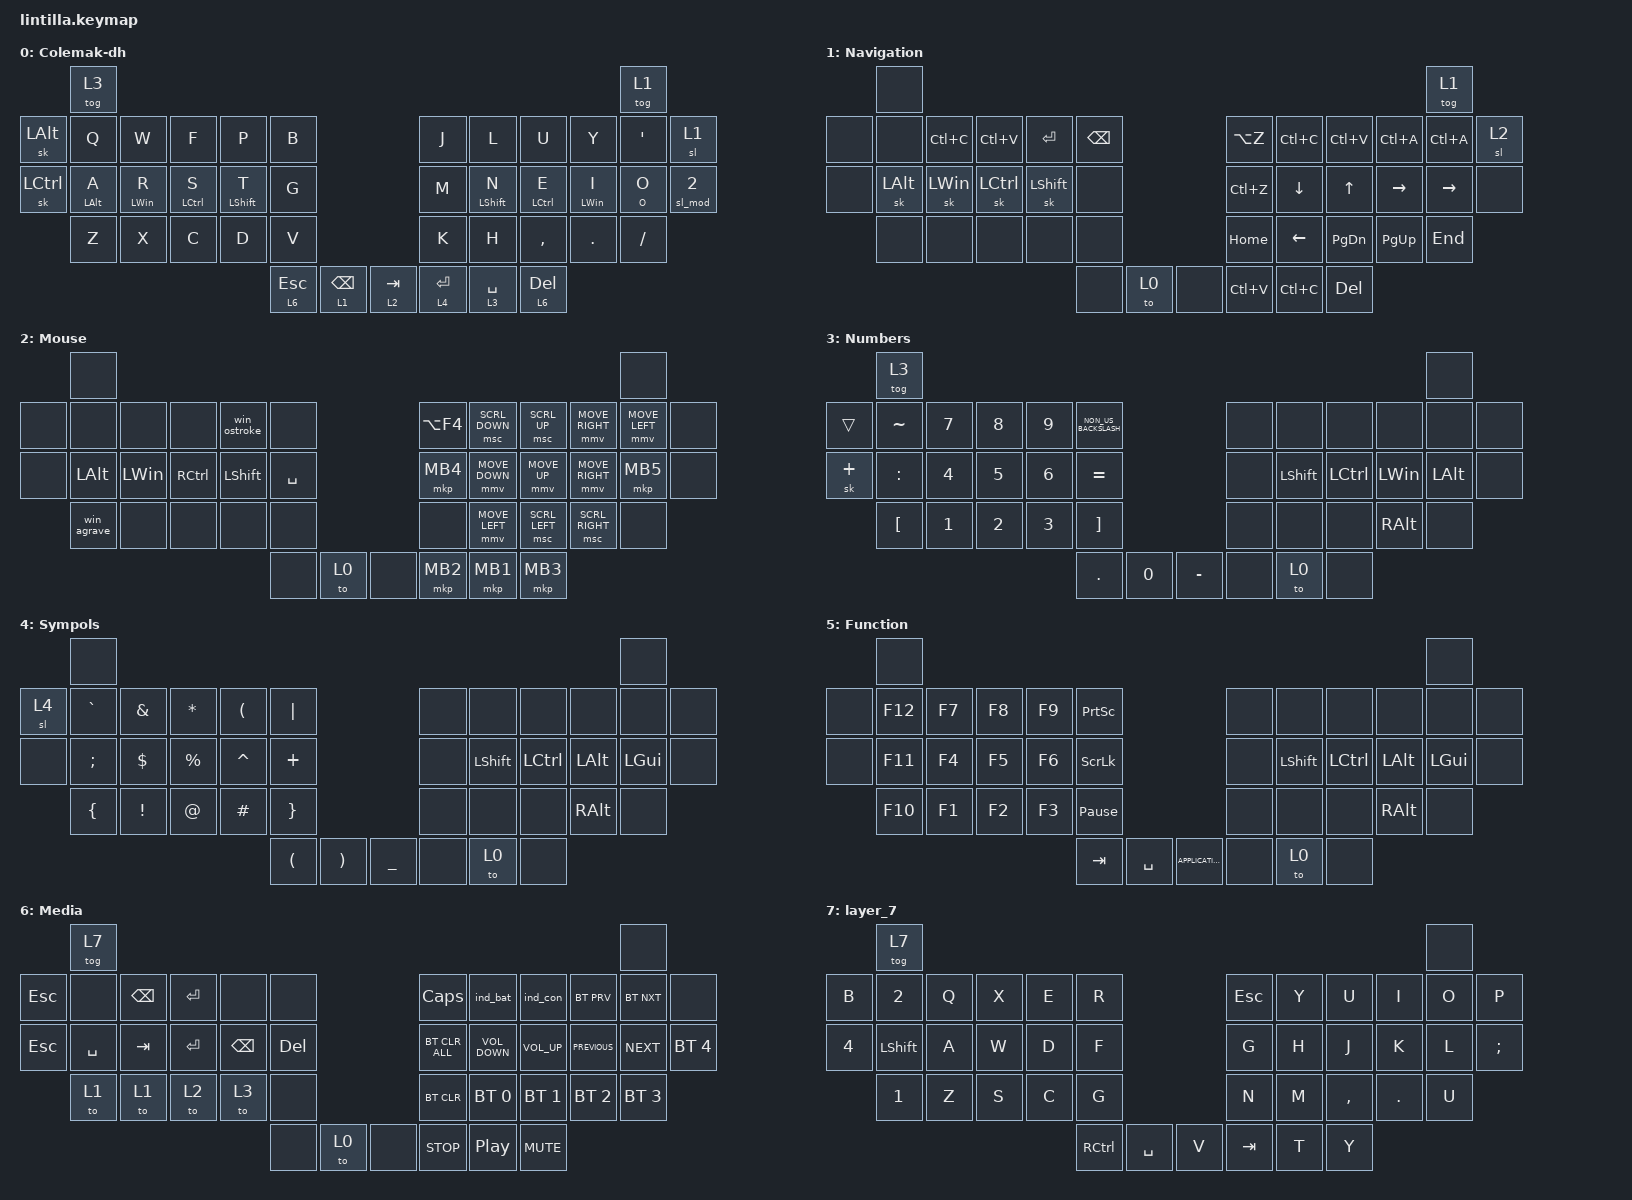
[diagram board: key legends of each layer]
#include <behaviors/rgbled_widget.dtsi>
#include <behaviors.dtsi>
#include <dt-bindings/zmk/bt.h>
#include <dt-bindings/zmk/keys.h>
#include <dt-bindings/zmk/outputs.h>
#define ZMK_POINTING_DEFAULT_MOVE_VAL 5000  // tune here: default 600
#include <dt-bindings/zmk/pointing.h>

&lt { tapping-term-ms = <175>; };

&mmv {
    // tick đầu (16ms) = 5000*16/230 = 348 px/s, tăng đều tới 5000
    // ponytail: exponent phải là 1 — bậc 2/3 không thể vừa cho 350 ở tick đầu
    // vừa giữ ramp dài; muốn cả hai thì phải patch behavior (thêm initial-speed)
    time-to-max-speed-ms = <230>;
    acceleration-exponent = <1>;
};

/ {
    behaviors {
        hm: homerow_mod {
            compatible = "zmk,behavior-hold-tap";
            #binding-cells = <2>;
            tapping-term-ms = <225>;
            quick-tap-ms = <0>;
            flavor = "tap-preferred";
            bindings = <&kp>, <&kp>;
        };

        sl_mod: sl_mod {
            compatible = "zmk,behavior-sticky-key";
            bindings = <&mo>;
            #binding-cells = <1>;
            release-after-ms = <1000>;
            ignore-modifiers;
        };

        bt_sel_0: bt_select_0 {
            compatible = "zmk,behavior-mod-morph";
            bindings = <&bt_sel 0>, <&bt_clr 0>;

            #binding-cells = <0>;
            mods = <(MOD_RSFT|MOD_LSFT)>;
        };

        bt_sel_1: bt_select_1 {
            compatible = "zmk,behavior-mod-morph";
            bindings = <&bt_sel 1>, <&bt_clr 1>;

            #binding-cells = <0>;
            mods = <(MOD_RSFT|MOD_LSFT)>;
        };

        bt_sel_2: bt_select_2 {
            compatible = "zmk,behavior-mod-morph";
            bindings = <&bt_sel 2>, <&bt_clr 2>;

            #binding-cells = <0>;
            mods = <(MOD_RSFT|MOD_LSFT)>;
        };

        bt_sel_3: bt_select_3 {
            compatible = "zmk,behavior-mod-morph";
            bindings = <&bt_sel 3>, <&bt_clr 3>;

            #binding-cells = <0>;
            mods = <(MOD_RSFT|MOD_LSFT)>;
        };

        bt_sel_4: bt_select_4 {
            compatible = "zmk,behavior-mod-morph";
            bindings = <&bt_sel 4>, <&bt_clr 4>;

            #binding-cells = <0>;
            mods = <(MOD_RSFT|MOD_LSFT)>;
        };

        out_tog: out_toggle {
            compatible = "zmk,behavior-mod-morph";
            bindings = <&out OUT_TOG>, <&out OUT_USB>;

            #binding-cells = <0>;
            mods = <(MOD_LSFT|MOD_RSFT)>;
        };

        u_caps_word: u_caps_word {
            compatible = "zmk,behavior-mod-morph";
            bindings = <&caps_word>, <&kp CAPS>;

            #binding-cells = <0>;
            mods = <(MOD_RSFT|MOD_LSFT)>;
        };

        win_ae: win_ae {
            compatible = "zmk,behavior-mod-morph";
            bindings = <&win_ae_low>, <&win_ae_up>;

            #binding-cells = <0>;
            mods = <(MOD_LSFT|MOD_RSFT)>;
        };

        win_ie: win_ie {
            compatible = "zmk,behavior-mod-morph";
            bindings = <&win_ie_low>, <&win_ie_up>;

            #binding-cells = <0>;
            mods = <(MOD_LSFT|MOD_RSFT)>;
        };

        win_oe: win_oe {
            compatible = "zmk,behavior-mod-morph";
            bindings = <&win_oe_low>, <&win_oe_up>;

            #binding-cells = <0>;
            mods = <(MOD_LSFT|MOD_RSFT)>;
        };

        win_ue: win_ue {
            compatible = "zmk,behavior-mod-morph";
            bindings = <&win_ue_low>, <&win_ue_up>;

            #binding-cells = <0>;
            mods = <(MOD_LSFT|MOD_RSFT)>;
        };

        win_agrave: win_agrave {
            compatible = "zmk,behavior-mod-morph";
            bindings = <&win_agrave_low>, <&win_agrave_up>;

            #binding-cells = <0>;
            mods = <(MOD_LSFT|MOD_RSFT)>;
        };

        win_eaigu: win_eaigu {
            compatible = "zmk,behavior-mod-morph";
            bindings = <&win_eaigu_low>, <&win_eaigu_up>;

            #binding-cells = <0>;
            mods = <(MOD_LSFT|MOD_RSFT)>;
        };

        win_dash: win_dash {
            compatible = "zmk,behavior-mod-morph";
            bindings = <&win_emdash>, <&win_endash>;

            #binding-cells = <0>;
            mods = <(MOD_LSFT|MOD_RSFT)>;
        };

        hm_slow: hm_slow {
            compatible = "zmk,behavior-hold-tap";
            #binding-cells = <2>;
            tapping-term-ms = <275>;
            quick-tap-ms = <0>;
            flavor = "tap-preferred";
            bindings = <&kp>, <&kp>;

            label = "HM_SLOW";
        };
    };

    conditional_layers { compatible = "zmk,conditional-layers"; };

    macros {
        bt_sel: bt_select {
            compatible = "zmk,behavior-macro-one-param";
            #binding-cells = <1>;
            bindings = <&out OUT_BLE &macro_param_1to2 &bt BT_SEL MACRO_PLACEHOLDER>;
        };

        bt_clr: bt_clear {
            compatible = "zmk,behavior-macro-one-param";
            #binding-cells = <1>;
            bindings = <&macro_param_1to2 &bt BT_SEL MACRO_PLACEHOLDER &bt BT_CLR>;
        };

        win_ellipsis: win_ellipsis {
            compatible = "zmk,behavior-macro";
            #binding-cells = <0>;
            bindings =
                <&macro_press>,
                <&kp LALT>,
                <&macro_tap>,
                <&kp KP_N0 &kp KP_N1 &kp KP_N3 &kp KP_N3>,
                <&macro_release>,
                <&kp LALT>;
        };

        win_ae_low: win_ae_low {
            compatible = "zmk,behavior-macro";
            #binding-cells = <0>;
            bindings =
                <&macro_press>,
                <&kp LALT>,
                <&macro_tap>,
                <&kp KP_N0 &kp KP_N2 &kp KP_N2 &kp KP_N8>,
                <&macro_release>,
                <&kp LALT>;
        };

        win_ae_up: win_ae_up {
            compatible = "zmk,behavior-macro";
            #binding-cells = <0>;
            bindings =
                <&macro_release>,
                <&kp LSHFT>,
                <&macro_press>,
                <&kp LALT>,
                <&macro_tap>,
                <&kp KP_N0 &kp KP_N1 &kp KP_N9 &kp KP_N6>,
                <&macro_release>,
                <&kp LALT>;
        };

        win_oe_low: win_oe_low {
            compatible = "zmk,behavior-macro";
            #binding-cells = <0>;
            bindings =
                <&macro_press>,
                <&kp LALT>,
                <&macro_tap>,
                <&kp KP_N0 &kp KP_N2 &kp KP_N4 &kp KP_N6>,
                <&macro_release>,
                <&kp LALT>;
        };

        win_oe_up: win_oe_up {
            compatible = "zmk,behavior-macro";
            #binding-cells = <0>;
            bindings =
                <&macro_release>,
                <&kp LSHFT>,
                <&macro_press>,
                <&kp LALT>,
                <&macro_tap>,
                <&kp KP_N0 &kp KP_N2 &kp KP_N1 &kp KP_N4>,
                <&macro_release>,
                <&kp LALT>;
        };

        win_ue_low: win_ue_low {
            compatible = "zmk,behavior-macro";
            #binding-cells = <0>;
            bindings =
                <&macro_press>,
                <&kp LALT>,
                <&macro_tap>,
                <&kp KP_N0 &kp KP_N2 &kp KP_N5 &kp KP_N2>,
                <&macro_release>,
                <&kp LALT>;
        };

        win_ue_up: win_ue_up {
            compatible = "zmk,behavior-macro";
            #binding-cells = <0>;
            bindings =
                <&macro_release>,
                <&kp LSHFT>,
                <&macro_press>,
                <&kp LALT>,
                <&macro_tap>,
                <&kp KP_N0 &kp KP_N2 &kp KP_N2 &kp KP_N0>,
                <&macro_release>,
                <&kp LALT>;
        };

        win_ie_low: win_ie_low {
            compatible = "zmk,behavior-macro";
            #binding-cells = <0>;
            bindings =
                <&macro_press>,
                <&kp LALT>,
                <&macro_tap>,
                <&kp KP_N0 &kp KP_N2 &kp KP_N3 &kp KP_N9>,
                <&macro_release>,
                <&kp LALT>;
        };

        win_ie_up: win_ie_up {
            compatible = "zmk,behavior-macro";
            #binding-cells = <0>;
            bindings =
                <&macro_release>,
                <&kp LSHFT>,
                <&macro_press>,
                <&kp LALT>,
                <&macro_tap>,
                <&kp KP_N0 &kp KP_N2 &kp KP_N0 &kp KP_N7>,
                <&macro_release>,
                <&kp LALT>;
        };

        win_eaigu_low: win_eaigu_low {
            compatible = "zmk,behavior-macro";
            #binding-cells = <0>;
            bindings =
                <&macro_press>,
                <&kp LALT>,
                <&macro_tap>,
                <&kp KP_N0 &kp KP_N2 &kp KP_N3 &kp KP_N3>,
                <&macro_release>,
                <&kp LALT>;
        };

        win_eaigu_up: win_eaigu_up {
            compatible = "zmk,behavior-macro";
            #binding-cells = <0>;
            bindings =
                <&macro_release>,
                <&kp LSHFT>,
                <&macro_press>,
                <&kp LALT>,
                <&macro_tap>,
                <&kp KP_N0 &kp KP_N2 &kp KP_N0 &kp KP_N1>,
                <&macro_release>,
                <&kp LALT>;
        };

        win_agrave_low: win_agrave_low {
            compatible = "zmk,behavior-macro";
            #binding-cells = <0>;
            bindings =
                <&macro_press>,
                <&kp LALT>,
                <&macro_tap>,
                <&kp KP_N0 &kp KP_N2 &kp KP_N2 &kp KP_N4>,
                <&macro_release>,
                <&kp LALT>;
        };

        win_agrave_up: win_agrave_up {
            compatible = "zmk,behavior-macro";
            #binding-cells = <0>;
            bindings =
                <&macro_release>,
                <&kp LSHFT>,
                <&macro_press>,
                <&kp LALT>,
                <&macro_tap>,
                <&kp KP_N0 &kp KP_N1 &kp KP_N9 &kp KP_N2>,
                <&macro_release>,
                <&kp LALT>;
        };

        win_sz: win_sz {
            compatible = "zmk,behavior-macro";
            #binding-cells = <0>;
            bindings =
                <&macro_press>,
                <&kp LALT>,
                <&macro_tap>,
                <&kp KP_N0 &kp KP_N2 &kp KP_N2 &kp KP_N3>,
                <&macro_release>,
                <&kp LALT>;
        };

        win_ostroke: win_ostroke {
            compatible = "zmk,behavior-macro";
            #binding-cells = <0>;
            bindings =
                <&macro_press>,
                <&kp LALT>,
                <&macro_tap>,
                <&kp KP_N0 &kp KP_N2 &kp KP_N4 &kp KP_N8>,
                <&macro_release>,
                <&kp LALT>;
        };

        win_emdash: win_emdash {
            compatible = "zmk,behavior-macro";
            #binding-cells = <0>;
            bindings =
                <&macro_press>,
                <&kp LALT>,
                <&macro_tap>,
                <&kp KP_N0 &kp KP_N1 &kp KP_N5 &kp KP_N1>,
                <&macro_release>,
                <&kp LALT>;
        };

        win_endash: win_endash {
            compatible = "zmk,behavior-macro";
            #binding-cells = <0>;
            bindings =
                <&macro_release>,
                <&kp LSHFT>,
                <&macro_press>,
                <&kp LALT>,
                <&macro_tap>,
                <&kp KP_N0 &kp KP_N1 &kp KP_N5 &kp KP_N0>,
                <&macro_release>,
                <&kp LALT>;
        };

        win_euro: win_euro {
            compatible = "zmk,behavior-macro";
            #binding-cells = <0>;
            bindings =
                <&macro_press>,
                <&kp LALT>,
                <&macro_tap>,
                <&kp KP_N0 &kp KP_N1 &kp KP_N2 &kp KP_N8>,
                <&macro_release>,
                <&kp LALT>;
        };

        win_deg: win_deg {
            compatible = "zmk,behavior-macro";
            #binding-cells = <0>;
            bindings =
                <&macro_press>,
                <&kp LALT>,
                <&macro_tap>,
                <&kp KP_N0 &kp KP_N1 &kp KP_N7 &kp KP_N6>,
                <&macro_release>,
                <&kp LALT>;
        };

        win_qo: win_qo {
            compatible = "zmk,behavior-macro";
            #binding-cells = <0>;
            bindings =
                <&macro_press>,
                <&kp LALT>,
                <&macro_tap>,
                <&kp KP_N0 &kp KP_N1 &kp KP_N7 &kp KP_N1>,
                <&macro_release>,
                <&kp LALT>;
        };

        win_qc: win_qc {
            compatible = "zmk,behavior-macro";
            #binding-cells = <0>;
            bindings =
                <&macro_press>,
                <&kp LALT>,
                <&macro_tap>,
                <&kp KP_N0 &kp KP_N1 &kp KP_N8 &kp KP_N7>,
                <&macro_release>,
                <&kp LALT>;
        };
    };

    combos {
        compatible = "zmk,combos";

        combo_LBKT {
            bindings = <&hm LC(LSHFT) COLON>;
            key-positions = <22 23>;
            layers = <0>;
            timeout-ms = <20>;
        };

        combo_minus {
            bindings = <&hm RCTRL LEFT_PARENTHESIS>;
            key-positions = <16 17>;
            layers = <0>;
            timeout-ms = <20>;
        };

        combo_elipse {
            bindings = <&win_ellipsis>;
            key-positions = <33 34>;
            layers = <0>;
        };

        booy {
            bindings = <&bootloader>;
            key-positions = <36 14>;
        };

        boot2 {
            bindings = <&bootloader>;
            key-positions = <41 25>;
        };

        bt_clear {
            bindings = <&bt BT_CLR_ALL>;
            key-positions = <37 14>;
        };

        bt_clear_2 {
            bindings = <&bt BT_CLR_ALL>;
            key-positions = <40 25>;
        };

        bracket {
            bindings = <&kp RIGHT_BRACKET>;
            key-positions = <5 6>;
        };

        back2layer0 {
            bindings = <&to 0>;
            key-positions = <38 39>;
        };

        close_racket {
            bindings = <&hm LC(LEFT_SHIFT) RIGHT_PARENTHESIS>;
            key-positions = <18 17>;
            timeout-ms = <20>;
            layers = <0>;
        };

        racket {
            bindings = <&kp LEFT_BRACKET>;
            key-positions = <4 5>;
        };

        mark {
            bindings = <&kp DOUBLE_QUOTES>;
            key-positions = <10 11>;
        };
    };

    keymap {
        compatible = "zmk,keymap";

        alphas {
            bindings = <
              &tog 3                                                                                                                                                                                               &tog 1
&sk LEFT_ALT  &kp Q                &kp W                &kp F        &kp P        &kp B                                                               &kp J         &kp L        &kp U        &kp Y                &kp SQT       &sl 1
&sk LCTRL     &hm_slow LEFT_ALT A  &hm_slow LEFT_WIN R  &hm LCTRL S  &hm LSHFT T  &kp G                                                               &kp M         &hm LSHFT N  &hm LCTRL E  &hm_slow LEFT_WIN I  &hm_slow O O  &sl_mod 2
              &kp Z                &kp X                &kp C        &kp D        &kp V                                                               &kp K         &kp H        &kp COMMA    &kp PERIOD           &kp FSLH
                                                                                  &lt 6 ESCAPE  &lt 1 BACKSPACE  &lt 2 TAB  &lt 4 ENTER  &lt 3 SPACE  &lt 6 DELETE
            >;

            label = "Colemak-dh";
        };

        nav {
            bindings = <
       &none                                                                                                                                                &tog 1
&none  &none         &kp LC(C)     &kp LC(V)  &kp ENTER  &kp BACKSPACE                                      &kp LA(Z)   &kp LC(C)  &kp LC(V)     &kp LC(A)  &kp LC(A)  &sl 2
&none  &sk LEFT_ALT  &sk LEFT_WIN  &sk LCTRL  &sk LSHFT  &none                                              &kp LC(Z)   &kp DOWN   &kp UP_ARROW  &kp RIGHT  &kp RIGHT  &none
       &none         &none         &none      &none      &none                                              &kp HOME    &kp LEFT   &kp PG_DN     &kp PG_UP  &kp END
                                                         &none          &to 0  &none  &kp LC(V)  &kp LC(C)  &kp DELETE
            >;

            label = "Navigation";
        };

        Mouse {
            bindings = <
       &none                                                                                                                                                           &none
&none  &none         &none         &none      &win_ostroke  &none                                        &kp LA(F4)  &msc SCRL_DOWN  &msc SCRL_UP    &mmv MOVE_RIGHT   &mmv MOVE_LEFT     &none
&none  &kp LEFT_ALT  &kp LEFT_WIN  &kp RCTRL  &kp LSHFT     &kp SPACE                                    &mkp MB4    &mmv MOVE_DOWN  &mmv MOVE_UP    &mmv MOVE_RIGHT   &mkp MB5           &none
       &win_agrave   &none         &none      &none         &none                                        &none       &mmv MOVE_LEFT  &msc SCRL_LEFT  &msc SCRL_RIGHT   &none
                                                            &none      &to 0  &none  &mkp MB2  &mkp MB1  &mkp MB3
            >;

            label = "Mouse";
        };

        num {
            bindings = <
          &tog 3                                                                                                                                            &none
&trans    &kp TILDE         &kp N7  &kp N8  &kp N9  &kp NON_US_BACKSLASH                                         &none  &none      &none      &none         &none         &none
&sk PLUS  &kp COLON         &kp N4  &kp N5  &kp N6  &kp EQUAL                                                    &none  &kp LSHFT  &kp LCTRL  &kp LEFT_WIN  &kp LEFT_ALT  &none
          &kp LEFT_BRACKET  &kp N1  &kp N2  &kp N3  &kp RIGHT_BRACKET                                            &none  &none      &none      &kp RALT      &none
                                                    &kp PERIOD            &kp NUMBER_0  &kp MINUS  &none  &to 0  &none
            >;

            label = "Numbers";
        };

        sym {
            bindings = <
       &none                                                                                                                                                   &none
&sl 4  &kp GRAVE       &kp AMPS  &kp ASTRK  &kp LPAR   &kp PIPE                                                         &none  &none      &none      &none     &none     &none
&none  &kp SEMICOLON   &kp DLLR  &kp PRCNT  &kp CARET  &kp PLUS                                                         &none  &kp LSHFT  &kp LCTRL  &kp LALT  &kp LGUI  &none
       &kp LEFT_BRACE  &kp EXCL  &kp AT     &kp HASH   &kp RIGHT_BRACE                                                  &none  &none      &none      &kp RALT  &none
                                                       &kp LPAR         &kp RIGHT_PARENTHESIS  &kp UNDER  &none  &to 0  &none
            >;

            label = "Sympols";
        };

        fun {
            bindings = <
       &none                                                                                                                              &none
&none  &kp F12  &kp F7  &kp F8  &kp F9  &kp PSCRN                                                  &none  &none      &none      &none     &none     &none
&none  &kp F11  &kp F4  &kp F5  &kp F6  &kp SLCK                                                   &none  &kp LSHFT  &kp LCTRL  &kp LALT  &kp LGUI  &none
       &kp F10  &kp F1  &kp F2  &kp F3  &kp PAUSE_BREAK                                            &none  &none      &none      &kp RALT  &none
                                        &kp TAB          &kp SPC  &kp K_APPLICATION  &none  &to 0  &none
            >;

            label = "Function";
        };

        media {
            bindings = <
            &tog 7                                                                                                                                                          &none
&kp ESC     &none      &kp BACKSPACE  &kp ENTER  &none     &none                                        &kp CAPS        &ind_bat           &ind_con         &bt BT_PRV      &bt BT_NXT    &none
&kp ESCAPE  &kp SPACE  &kp TAB        &kp RET    &kp BSPC  &kp DEL                                      &bt BT_CLR_ALL  &kp C_VOLUME_DOWN  &kp C_VOLUME_UP  &kp C_PREVIOUS  &kp C_NEXT    &bt BT_SEL 4
            &to 1      &to 1          &to 2      &to 3     &none                                        &bt BT_CLR      &bt BT_SEL 0       &bt BT_SEL 1     &bt BT_SEL 2    &bt BT_SEL 3
                                                           &none    &to 0  &none  &kp C_STOP  &kp C_PP  &kp C_MUTE
            >;

            label = "Media";
        };

        layer_7 {
            bindings = <
              &tog 7                                                                                                                 &none
&kp B         &kp NUMBER_2  &kp Q  &kp X  &kp E  &kp R                                        &kp ESCAPE  &kp Y  &kp U      &kp I    &kp O  &kp P
&kp NUMBER_4  &kp LSHFT     &kp A  &kp W  &kp D  &kp F                                        &kp G       &kp H  &kp J      &kp K    &kp L  &kp SEMI
              &kp NUMBER_1  &kp Z  &kp S  &kp C  &kp G                                        &kp N       &kp M  &kp COMMA  &kp DOT  &kp U
                                                 &kp RCTRL  &kp SPACE  &kp V  &kp TAB  &kp T  &kp Y
            >;
        };
    };
};

// vim: expandtab softtabstop=4 shiftwidth=4 filetype=dts
